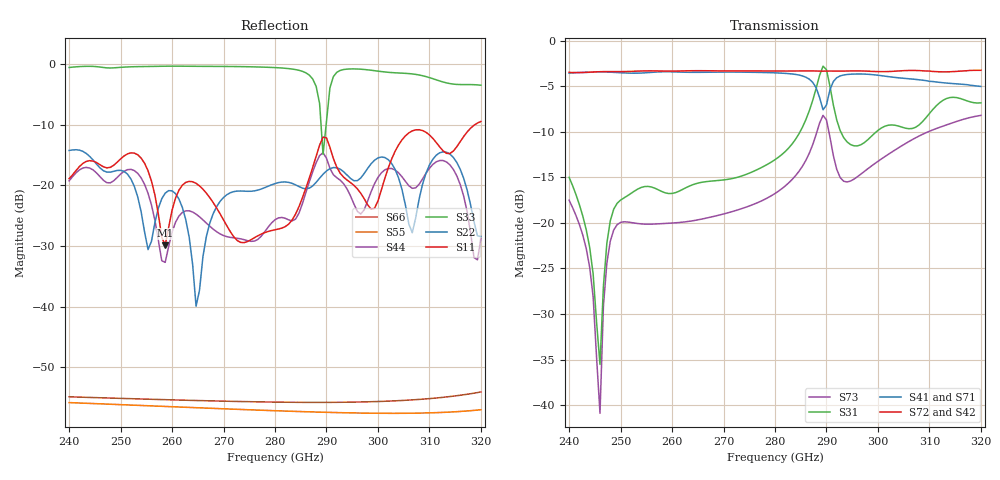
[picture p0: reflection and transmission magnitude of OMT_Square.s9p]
! Touchstone file exported from HFSS 2021.1.0
!  File:  D:/ANSYS/HFSS_work/cp_ant/260204_Cir_to_Rect_STEP_v3_fin.aedt
!  Generated:  4:29:34 %xC624%xD6C4  4 22, 2026
!  Design:  cir_to_rect_OMT_v13_GA7_opt_STEP_exp_QN2_Sqaure
!  Project:  260204_Cir_to_Rect_STEP_v3_fin
!  Setup:  Setup1
!  Solution:  Sweep
! Variables:
!  diff_ws = 0.061mm
!  fil_r = 100um
!  h1 = 0.292mm
!  h2 = 0.134mm
!  h3 = 0.176mm
!  l1 = 0.527mm
!  l2 = 0.275mm
!  l3 = 0.459mm
!  l4 = 0.313mm
!  l5 = 0.285999999999997mm
!  mov_x = 1mm
!  r_r = 6mm
!  sep_h1 = 0.776mm
!  sep_h2 = 0.484mm
!  sep_h3 = 0.35mm
!  sep_h4 = 0.174mm
!  sep_l = 1.373mm
!  sep_l1 = 1.9mm
!  sep_l2 = 2.175mm
!  sep_l3 = 2.634mm
!  sep_l4 = 2.947mm
!  sep_ll = 0.2004mm
!  sep_ll2 = 0.2505mm
!  sep_ll3 = 1mm
!  sep_w = 0.137mm
!  tr_l = 1.002mm
!  wc_d = 0.9906mm
!  wc_l = 3.8259mm
!  wg_x = 20mm
!  wr_l = 3.7156mm
!  ws_x = 0.8636mm
!  ws_x1 = 0.898mm
!  ws_x2 = 0.776mm
!  ws_x3 = 0.898mm
!  ws_y2 = 0.898mm
!  ws_z = 0
!  wsc_l = 2mm
!Data is not renormalized
! Terminal data exported
! Port[1] = cir:1
! Port[2] = cir:2
! Port[3] = cir:3
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# GHz S MA
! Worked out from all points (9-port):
!   121 points, 240 GHz to 320 GHz, reference per port
!   strongest paths, dB at 240 GHz, 260 GHz, 280 GHz, 300 GHz, 320 GHz:
!     S72: -3.5, -3.3, -3.3, -3.4, -3.3
!     S42: -3.5, -3.4, -3.3, -3.4, -3.3
!     S41: -3.6, -3.4, -3.5, -3.8, -5.0
!     S71: -3.5, -3.4, -3.5, -3.8, -5.0
!     S31: -15.0, -16.8, -13.1, -9.9, -6.8
!     S73: -17.5, -20.0, -16.8, -13.2, -8.2
!   lowest |S11| = -29.9 dB at 258.7 GHz (marker M1), VSWR 1.07
!   |S11| at or under -10 dB: start of sweep to 318.8 GHz
